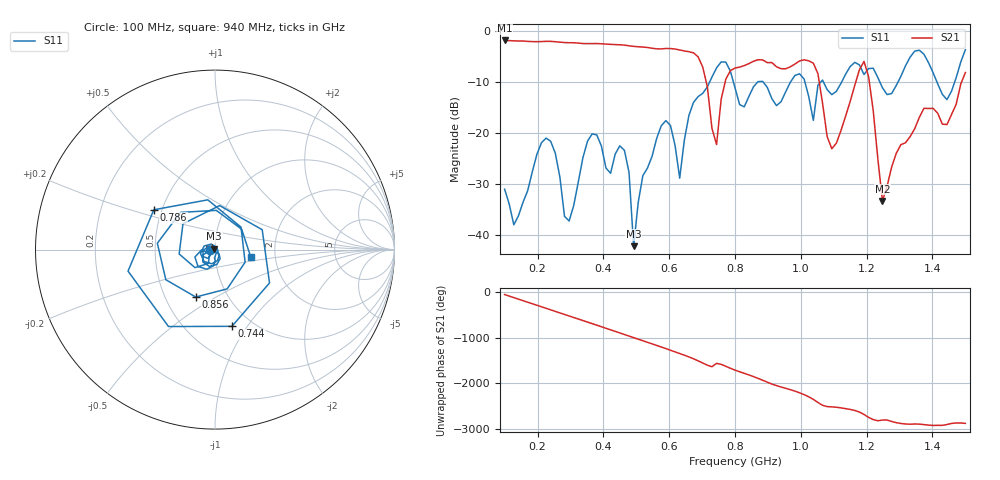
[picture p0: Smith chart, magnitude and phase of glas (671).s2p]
! NanoVNA-App
! Date: 2025-09-25 16:00:42
! Start: 100MHz Stop: 1,5GHz Points: 101
! S-Parameter data: F S11 S21 S12 S22
# Hz S RI R 50
!  Frequency  S11_Real  S11_Imag  S21_Real  S21_Imag  S12_Real  S12_Imag  S22_Real  S22_Imag
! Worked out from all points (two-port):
!   101 points, 100 MHz to 1.5 GHz, reference 50 ohm
!   highest |S21| = -1.80 dB at 100 MHz (marker M1); lowest = -33.3 dB at 1.248 GHz (marker M2)
!   |S21| within 3 dB of the highest: start of sweep to 684.2 MHz
!   lowest |S11| = -42.1 dB at 492 MHz (marker M3), VSWR 1.02, Z = 49.5 + j0.593 ohm
!   |S11| at or under -10 dB: start of sweep to 722.5 MHz; 795.4 MHz to 868.2 MHz (72.7 MHz wide, 8.74 % of centre); 886.3 MHz to 968 MHz (81.74 MHz wide, 8.82 % of centre) (the widest 3 of 7)
!   S12 and S22 are empty: the file has one direction only
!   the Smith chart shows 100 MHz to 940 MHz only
!   S11 on the Smith chart (normalised r, x): 100 MHz: 0.94, -0.01; 744 MHz: 0.81, -0.85; 786 MHz: 0.45, +0.24; 856 MHz: 0.71, -0.41; 940 MHz: 1.49, -0.14
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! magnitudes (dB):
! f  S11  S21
! 100 MHz  -30.9  -1.8
! 128 MHz  -37.9  -1.9
! 226 MHz  -20.9  -2.0
! 296 MHz  -37.2  -2.2
! 338 MHz  -24.7  -2.4
! 464 MHz  -23.3  -2.7
! 492 MHz  -42.1  -3.0
! 576 MHz  -18.5  -3.5
! 632 MHz  -28.8  -3.7
! 702 MHz  -12.2  -7.0
! 744 MHz  -7.2  -22.2
! 786 MHz  -7.8  -7.7
! 800 MHz  -11.1  -7.2
! 856 MHz  -10.9  -5.9
! 940 MHz  -13.8  -7.3
! 1.038 GHz  -17.5  -6.2
! 1.094 GHz  -12.4  -23.0
! 1.192 GHz  -8.5  -5.9
! 1.248 GHz  -11.1  -33.3
! 1.276 GHz  -12.2  -26.6
! 1.444 GHz  -13.4  -18.3
! 1.5 GHz  -3.6  -8.1
